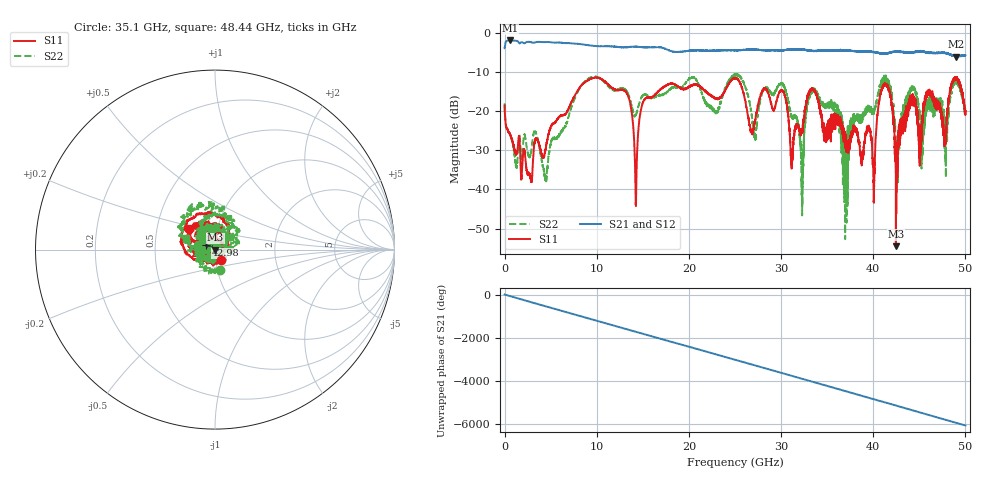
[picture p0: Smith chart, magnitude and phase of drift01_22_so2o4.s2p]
!Created with skrf (http://scikit-rf.org).
# Hz S RI R 50.0
!freq ReS11 ImS11 ReS21 ImS21 ReS12 ImS12 ReS22 ImS22
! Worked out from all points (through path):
!   10001 points, 300 kHz to 50 GHz, reference 50 ohm
!   highest |S21| = -2.00 dB at 570.3 MHz (marker M1); lowest = -6.1 dB at 48.98 GHz (marker M2)
!   group delay of S21, straight-line fit = 336 ps
!   lowest |S11| = -54.5 dB at 42.46 GHz (marker M3), VSWR 1.00, Z = 50.2 - j0.0674 ohm
!   |S11| at or under -10 dB: start of sweep to end of sweep
!   |S22| runs from -52.7 to -10.5 dB; largest |S21 - S12| = 0.019
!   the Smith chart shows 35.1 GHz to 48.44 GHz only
!   S11 on the Smith chart (normalised r, x): 35.1 GHz: 1.06, -0.13; 42.98 GHz: 0.90, +0.05; 48.44 GHz: 0.72, +0.18
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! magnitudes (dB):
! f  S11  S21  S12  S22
! 300 kHz  -18.6  -4.0  -4.1  -18.0
! 570.3 MHz  -26.0  -2.0  -2.0  -26.0
! 4.44 GHz  -29.9  -2.4  -2.4  -37.7
! 8.335 GHz  -13.5  -3.0  -3.0  -13.5
! 13.17 GHz  -15.1  -3.7  -3.8  -14.6
! 14.25 GHz  -44.3  -3.6  -3.6  -21.0
! 16.67 GHz  -15.0  -3.7  -3.7  -15.9
! 25 GHz  -11.6  -4.5  -4.6  -10.9
! 27.15 GHz  -22.8  -4.3  -4.3  -26.4
! 30.2 GHz  -15.1  -4.5  -4.5  -13.3
! 31.14 GHz  -32.0  -4.3  -4.3  -21.4
! 32.25 GHz  -25.3  -4.4  -4.4  -38.4
! 33.34 GHz  -14.4  -4.6  -4.6  -14.6
! 35.1 GHz  -23.3  -4.6  -4.7  -18.6
! 37.03 GHz  -26.5  -4.5  -4.6  -37.6
! 40.06 GHz  -43.2  -5.0  -5.0  -20.7
! 41.67 GHz  -14.3  -5.1  -5.2  -12.6
! 42.46 GHz  -54.5  -4.8  -4.8  -32.8
! 42.98 GHz  -24.8  -4.8  -4.9  -23.4
! 48.44 GHz  -14.3  -5.7  -5.7  -15.1
! 48.98 GHz  -11.6  -6.1  -6.0  -12.8
! 50 GHz  -20.0  -5.8  -5.8  -19.8
